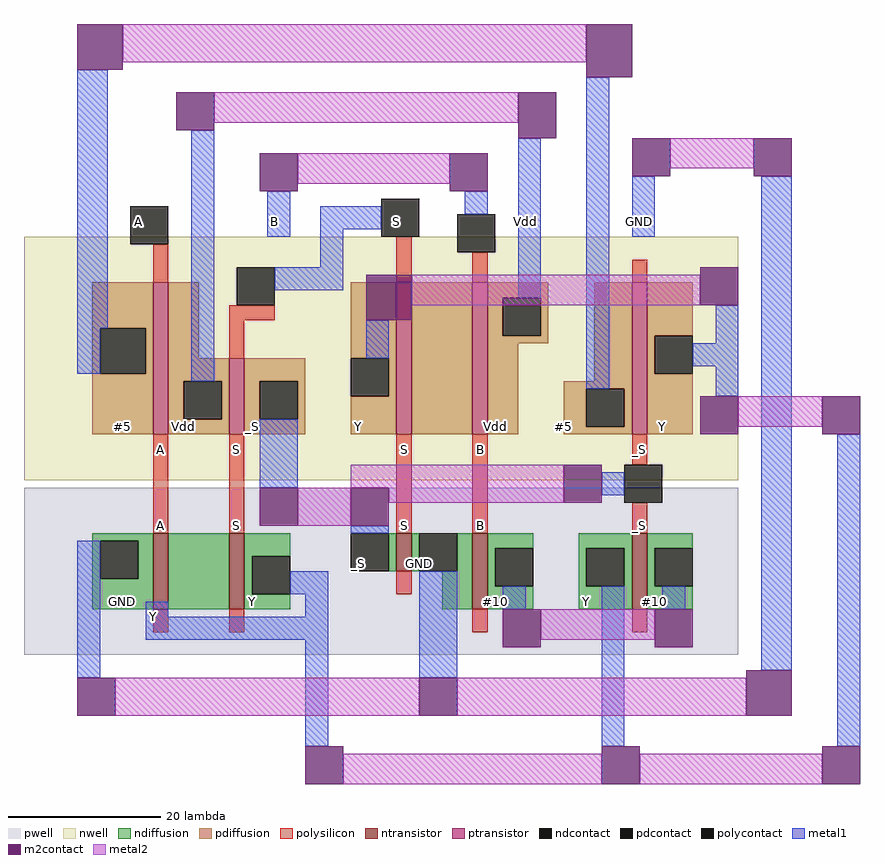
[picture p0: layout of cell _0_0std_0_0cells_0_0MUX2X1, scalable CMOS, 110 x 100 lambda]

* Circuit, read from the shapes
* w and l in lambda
.subckt _0_0std_0_0cells_0_0MUX2X1 GND Vdd S B Y A
M1 n1 A GND VSUBS nfet w=10 l=2
M2 Y S n1 VSUBS nfet w=10 l=2
M3 GND S _S VSUBS nfet w=5 l=2
M4 #10 B GND VSUBS nfet w=10 l=2
M5 #10 _S Y VSUBS nfet w=10 l=2
M6 Vdd A #5 n2 pfet w=20 l=2
M7 _S S Vdd n2 pfet w=10 l=2
M8 n3 S Y n2 pfet w=20 l=2
M9 Vdd B n3 n2 pfet w=20 l=2
M10 Y _S #5 n2 pfet w=20 l=2
.ends

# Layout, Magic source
magic
tech scmos
<< nwell >>
rect -8 28 86 60
<< pwell >>
rect -8 5 86 27
<< ntransistor >>
rect 9 11 11 21
rect 19 11 21 21
rect 41 16 43 21
rect 51 11 53 21
rect 72 11 74 21
<< ptransistor >>
rect 9 34 11 54
rect 19 34 21 44
rect 41 34 43 54
rect 51 34 53 54
rect 72 34 74 54
<< ndiffusion >>
rect 1 20 9 21
rect 1 15 2 20
rect 7 15 9 20
rect 1 11 9 15
rect 11 11 19 21
rect 21 18 27 21
rect 21 13 22 18
rect 40 16 41 21
rect 43 16 44 21
rect 49 16 51 21
rect 21 11 27 13
rect 47 11 51 16
rect 53 19 59 21
rect 53 14 54 19
rect 53 11 59 14
rect 65 19 72 21
rect 65 14 66 19
rect 71 14 72 19
rect 65 11 72 14
rect 74 19 80 21
rect 74 14 75 19
rect 74 11 80 14
<< pdiffusion >>
rect 1 48 9 54
rect 1 42 2 48
rect 8 42 9 48
rect 1 34 9 42
rect 11 44 15 54
rect 35 44 41 54
rect 11 41 19 44
rect 11 36 13 41
rect 18 36 19 41
rect 11 34 19 36
rect 21 41 29 44
rect 21 36 23 41
rect 28 36 29 41
rect 21 34 29 36
rect 40 39 41 44
rect 35 34 41 39
rect 43 34 51 54
rect 53 52 61 54
rect 53 47 55 52
rect 60 47 61 52
rect 53 46 61 47
rect 53 34 57 46
rect 67 41 72 54
rect 63 40 72 41
rect 63 35 66 40
rect 71 35 72 40
rect 63 34 72 35
rect 74 47 80 54
rect 74 42 75 47
rect 74 34 80 42
<< ndcontact >>
rect 2 15 7 20
rect 22 13 27 18
rect 35 16 40 21
rect 44 16 49 21
rect 54 14 59 19
rect 66 14 71 19
rect 75 14 80 19
<< pdcontact >>
rect 2 42 8 48
rect 13 36 18 41
rect 23 36 28 41
rect 35 39 40 44
rect 55 47 60 52
rect 66 35 71 40
rect 75 42 80 47
<< polysilicon >>
rect 9 54 11 59
rect 41 54 43 60
rect 51 54 53 58
rect 72 54 74 57
rect 19 49 25 51
rect 19 44 21 49
rect 9 21 11 34
rect 19 21 21 34
rect 41 21 43 34
rect 51 21 53 34
rect 72 30 74 34
rect 72 21 74 25
rect 41 13 43 16
rect 9 8 11 11
rect 19 8 21 11
rect 51 8 53 11
rect 72 8 74 11
<< polycontact >>
rect 6 59 11 64
rect 39 60 44 65
rect 20 51 25 56
rect 49 58 54 63
rect 71 25 76 30
<< metal1 >>
rect -1 48 3 82
rect -1 42 2 48
rect 14 41 17 74
rect 24 60 27 66
rect 31 61 39 64
rect 31 56 34 61
rect 50 63 53 66
rect 25 53 34 56
rect 57 52 60 73
rect 37 44 40 49
rect 66 40 69 81
rect 72 60 75 68
rect 83 46 86 51
rect 80 43 86 46
rect 23 27 28 36
rect 83 39 86 43
rect 68 26 71 29
rect 35 21 40 22
rect -1 2 2 20
rect 27 13 32 16
rect 8 10 11 12
rect 29 10 32 13
rect 8 7 32 10
rect 29 -7 32 7
rect 44 2 49 16
rect 55 11 58 14
rect 68 -7 71 14
rect 76 11 79 14
rect 89 3 93 68
rect 99 -7 102 34
<< m2contact >>
rect -1 82 5 88
rect 66 81 72 88
rect 12 74 17 79
rect 57 73 62 79
rect 23 66 28 71
rect 48 66 53 71
rect 37 49 43 55
rect 72 68 77 73
rect 88 68 93 73
rect 81 51 86 56
rect 81 34 86 39
rect 23 22 28 27
rect 35 22 40 27
rect 63 25 68 30
rect -1 -3 4 2
rect 55 6 60 11
rect 44 -3 49 2
rect 75 6 80 11
rect 97 34 102 39
rect 87 -3 93 3
rect 29 -12 34 -7
rect 68 -12 73 -7
rect 97 -12 102 -7
<< metal2 >>
rect 5 83 66 88
rect 17 75 57 79
rect 28 67 48 71
rect 77 69 88 73
rect 43 51 81 55
rect 86 35 97 39
rect 35 27 63 30
rect 28 22 35 27
rect 40 25 63 27
rect 60 7 75 11
rect 4 -3 44 2
rect 49 -3 87 2
rect 34 -12 68 -8
rect 73 -12 97 -8
<< labels >>
rlabel ndiffusion 54 12 54 12 3 #10
rlabel polysilicon 52 22 52 22 3 B
rlabel ndiffusion 44 17 44 17 3 GND
rlabel polysilicon 42 22 42 22 3 S
rlabel ndcontact 36 17 36 17 3 _S
rlabel ndiffusion 5 12 5 12 3 GND
rlabel polysilicon 20 22 20 22 3 S
rlabel ndiffusion 22 12 22 12 3 Y
rlabel polysilicon 52 32 52 32 3 B
rlabel pdiffusion 54 35 54 35 3 Vdd
rlabel polysilicon 42 32 42 32 3 S
rlabel pdiffusion 36 35 36 35 3 Y
rlabel metal1 73 62 73 62 3 GND
port 1 e
rlabel pdiffusion 5 35 5 35 3 #5
rlabel pdiffusion 13 35 13 35 3 Vdd
rlabel polysilicon 20 32 20 32 3 S
rlabel pdiffusion 22 35 22 35 3 _S
rlabel polycontact 41 62 41 62 3 S
port 3 e
rlabel metal1 25 62 25 62 3 B
port 4 e
rlabel metal1 58 62 58 62 3 Vdd
port 2 e
rlabel metal1 9 10 9 10 3 Y
port 5 e
rlabel polysilicon 73 32 73 32 3 _S
rlabel polysilicon 73 22 73 22 3 _S
rlabel pdiffusion 76 35 76 35 3 Y
rlabel polycontact 7 62 7 62 3 A
port 6 e
rlabel polysilicon 10 32 10 32 3 A
rlabel polysilicon 10 22 10 22 3 A
rlabel pdiffusion 63 35 63 35 3 #5
rlabel ndiffusion 66 12 66 12 3 Y
rlabel ndiffusion 75 12 75 12 3 #10
<< end >>
